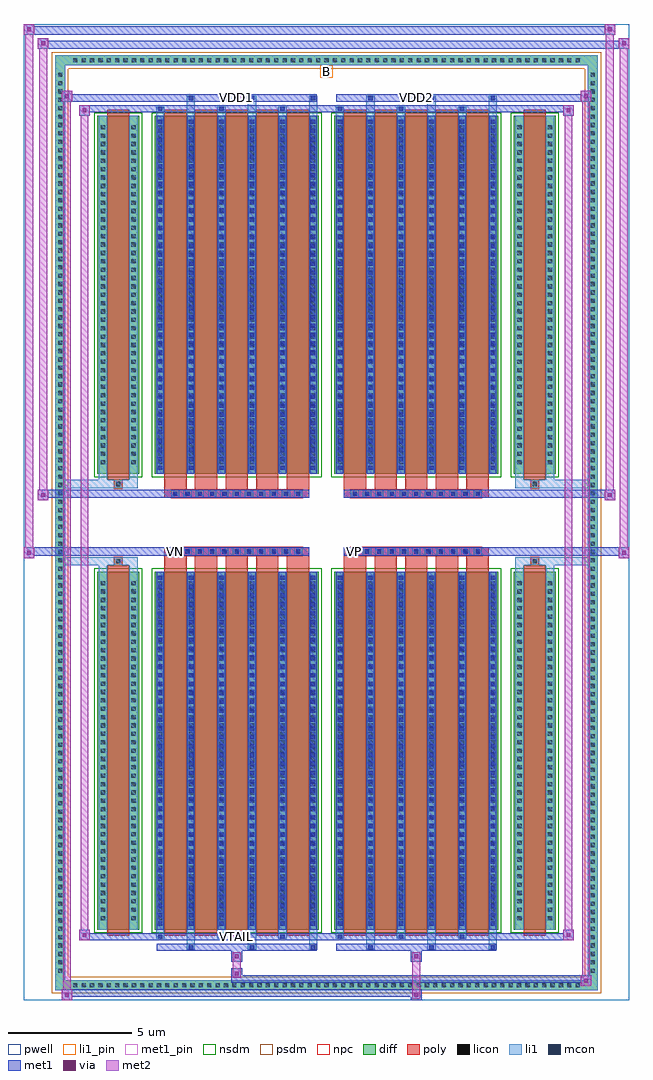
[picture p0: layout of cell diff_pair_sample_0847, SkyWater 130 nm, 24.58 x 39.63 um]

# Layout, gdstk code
import gdstk
lib = gdstk.Library(unit=1e-6, precision=5e-09)
def R(c, l, rs):  # rectangles x0, y0, x1, y1
    for r in rs: c.add(gdstk.rectangle(r[:2], r[2:], *l))
def A(c, l, x, y, w, h, nx, ny, dx, dy):  # array of equal rectangles
    R(c, l, [(x+i*dx, y+j*dy, x+i*dx+w, y+j*dy+h) for i in range(nx) for j in range(ny)])
def P(c, l, *ps):  # polygons
    for p in ps: c.add(gdstk.Polygon(p, *l))
pwell = (64, 44)
diff = (65, 20)
poly = (66, 20)
licon = (66, 44)
li1_pin = (67, 16)
li1 = (67, 20)
mcon = (67, 44)
met1_pin = (68, 16)
met1 = (68, 20)
via = (68, 44)
met2 = (69, 20)
nsdm = (93, 44)
psdm = (94, 20)
npc = (95, 20)

diff_pair_sample_0847 = lib.new_cell('diff_pair_sample_0847')
R(diff_pair_sample_0847, pwell, [(-12.29,-19.38,12.29,20.25), (-9.61,-17.57,-0.01,-0.805), (0.01,-17.57,9.61,-0.805), (-9.61,0.805,-0.01,17.57), (0.01,0.805,9.61,17.57)])
A(diff_pair_sample_0847, diff, -10.405, -18.98, 0.41, 0.41, 61, 2, 0.34, 37.55)
A(diff_pair_sample_0847, diff, -11.02, -18.395, 0.41, 0.41, 1, 108, 0, 0.34)
A(diff_pair_sample_0847, diff, 10.61, -18.395, 0.41, 0.41, 1, 108, 0, 0.34)
R(diff_pair_sample_0847, diff, [(-10.405,-18.98,10.405,-18.57), (-11.02,-18.395,-10.61,18.395), (10.61,-18.395,11.02,18.395), (-9.3,-16.525,-7.61,-1.985), (-6.97,-16.525,-0.32,-1.985), (0.32,-16.525,6.97,-1.985), (7.61,-16.525,9.3,-1.985), (-9.3,1.985,-7.61,16.525), (-6.97,1.985,-0.32,16.525), (0.32,1.985,6.97,16.525), (7.61,1.985,9.3,16.525), (-10.405,18.57,10.405,18.98)])
P(diff_pair_sample_0847, diff, [(11.02,18.98),(-11.02,18.98),(-11.02,-18.57),(-10.61,-18.57),(-10.61,18.57),(10.61,18.57),(10.61,-18.57),(-10.61,-18.57),(-11.02,-18.57),(-11.02,-18.98),(11.02,-18.98)])
A(diff_pair_sample_0847, poly, -6.58, -16.775, 0.91, 15.04, 5, 2, 1.24, 18.51)
A(diff_pair_sample_0847, poly, 0.71, -16.775, 0.91, 15.04, 5, 2, 1.24, 18.51)
A(diff_pair_sample_0847, poly, -6.58, -1.735, 0.91, 0.4, 5, 2, 1.24, 3.07)
A(diff_pair_sample_0847, poly, 0.71, -1.735, 0.91, 0.4, 5, 2, 1.24, 3.07)
A(diff_pair_sample_0847, poly, -6.31, -1.335, 0.33, 0.33, 11, 2, 0.5, 2.34)
A(diff_pair_sample_0847, poly, 0.98, -1.335, 0.33, 0.33, 11, 2, 0.5, 2.34)
R(diff_pair_sample_0847, poly, [(-8.91,-16.775,-8,-1.735), (8,-16.775,8.91,-1.735), (-8.62,-1.735,-8.29,-1.405), (-8.62,-1.735,-8.29,-1.405), (8.29,-1.735,8.62,-1.405), (8.29,-1.735,8.62,-1.405), (-6.58,-1.335,-0.71,-1.005), (0.71,-1.335,6.58,-1.005), (-6.58,1.005,-0.71,1.335), (0.71,1.005,6.58,1.335), (-8.62,1.405,-8.29,1.735), (-8.62,1.405,-8.29,1.735), (8.29,1.405,8.62,1.735), (8.29,1.405,8.62,1.735), (-8.91,1.735,-8,16.775), (8,1.735,8.91,16.775)])
A(diff_pair_sample_0847, licon, -10.285, -18.86, 0.17, 0.17, 61, 2, 0.34, 37.55)
A(diff_pair_sample_0847, licon, -10.9, -18.275, 0.17, 0.17, 1, 108, 0, 0.34)
A(diff_pair_sample_0847, licon, 10.73, -18.275, 0.17, 0.17, 1, 108, 0, 0.34)
A(diff_pair_sample_0847, licon, -9.16, -16.14, 0.17, 0.17, 1, 41, 0, 0.34)
A(diff_pair_sample_0847, licon, -7.92, -16.14, 0.17, 0.17, 1, 41, 0, 0.34)
A(diff_pair_sample_0847, licon, -6.83, -16.14, 0.17, 0.17, 6, 41, 1.24, 0.34)
A(diff_pair_sample_0847, licon, 0.46, -16.14, 0.17, 0.17, 6, 41, 1.24, 0.34)
A(diff_pair_sample_0847, licon, 7.75, -16.14, 0.17, 0.17, 1, 41, 0, 0.34)
A(diff_pair_sample_0847, licon, 8.99, -16.14, 0.17, 0.17, 1, 41, 0, 0.34)
A(diff_pair_sample_0847, licon, -6.23, -1.255, 0.17, 0.17, 11, 2, 0.5, 2.34)
A(diff_pair_sample_0847, licon, 1.06, -1.255, 0.17, 0.17, 11, 2, 0.5, 2.34)
A(diff_pair_sample_0847, licon, -9.16, 2.37, 0.17, 0.17, 1, 41, 0, 0.34)
A(diff_pair_sample_0847, licon, -7.92, 2.37, 0.17, 0.17, 1, 41, 0, 0.34)
A(diff_pair_sample_0847, licon, -6.83, 2.37, 0.17, 0.17, 6, 41, 1.24, 0.34)
A(diff_pair_sample_0847, licon, 0.46, 2.37, 0.17, 0.17, 6, 41, 1.24, 0.34)
A(diff_pair_sample_0847, licon, 7.75, 2.37, 0.17, 0.17, 1, 41, 0, 0.34)
A(diff_pair_sample_0847, licon, 8.99, 2.37, 0.17, 0.17, 1, 41, 0, 0.34)
R(diff_pair_sample_0847, licon, [(-8.54,-1.655,-8.37,-1.485), (8.37,-1.655,8.54,-1.485), (-8.54,1.485,-8.37,1.655), (8.37,1.485,8.54,1.655)])
R(diff_pair_sample_0847, li1_pin, [(-0.25,18.07,0.25,18.57)])
A(diff_pair_sample_0847, li1, -10.365, -18.94, 0.33, 0.33, 61, 2, 0.34, 37.55)
A(diff_pair_sample_0847, li1, -10.98, -18.355, 0.33, 0.33, 1, 108, 0, 0.34)
A(diff_pair_sample_0847, li1, 10.65, -18.355, 0.33, 0.33, 1, 108, 0, 0.34)
A(diff_pair_sample_0847, li1, -5.67, -17.33, 0.33, 0.805, 3, 2, 2.48, 33.855)
A(diff_pair_sample_0847, li1, -5.59, -17.33, 0.17, 0.17, 3, 2, 2.48, 34.49)
A(diff_pair_sample_0847, li1, 1.62, -17.33, 0.33, 0.805, 3, 2, 2.48, 33.855)
A(diff_pair_sample_0847, li1, 1.7, -17.33, 0.17, 0.17, 3, 2, 2.48, 34.49)
A(diff_pair_sample_0847, li1, -6.91, -16.9, 0.33, 0.375, 3, 2, 2.48, 33.425)
A(diff_pair_sample_0847, li1, -6.83, -16.9, 0.17, 0.17, 3, 2, 2.48, 33.63)
A(diff_pair_sample_0847, li1, 0.38, -16.9, 0.33, 0.375, 3, 2, 2.48, 33.425)
A(diff_pair_sample_0847, li1, 0.46, -16.9, 0.17, 0.17, 3, 2, 2.48, 33.63)
A(diff_pair_sample_0847, li1, -6.91, -16.525, 0.33, 14.54, 6, 2, 1.24, 18.51)
A(diff_pair_sample_0847, li1, 0.38, -16.525, 0.33, 14.54, 6, 2, 1.24, 18.51)
A(diff_pair_sample_0847, li1, -6.83, -16.36, 0.17, 0.17, 6, 40, 1.24, 0.36)
A(diff_pair_sample_0847, li1, -6.83, -16.36, 0.17, 14.21, 6, 2, 1.24, 18.51)
A(diff_pair_sample_0847, li1, 0.46, -16.36, 0.17, 0.17, 6, 40, 1.24, 0.36)
A(diff_pair_sample_0847, li1, 0.46, -16.36, 0.17, 14.21, 6, 2, 1.24, 18.51)
A(diff_pair_sample_0847, li1, -9.24, -16.22, 0.33, 0.33, 1, 41, 0, 0.34)
A(diff_pair_sample_0847, li1, -8, -16.22, 0.33, 0.33, 1, 41, 0, 0.34)
A(diff_pair_sample_0847, li1, -6.91, -16.22, 0.33, 0.33, 6, 41, 1.24, 0.34)
A(diff_pair_sample_0847, li1, 0.38, -16.22, 0.33, 0.33, 6, 41, 1.24, 0.34)
A(diff_pair_sample_0847, li1, 7.67, -16.22, 0.33, 0.33, 1, 41, 0, 0.34)
A(diff_pair_sample_0847, li1, 8.91, -16.22, 0.33, 0.33, 1, 41, 0, 0.34)
A(diff_pair_sample_0847, li1, -6.31, -1.335, 0.33, 0.33, 11, 2, 0.5, 2.34)
A(diff_pair_sample_0847, li1, 0.98, -1.335, 0.33, 0.33, 11, 2, 0.5, 2.34)
A(diff_pair_sample_0847, li1, -6.83, 2.15, 0.17, 0.17, 6, 40, 1.24, 0.36)
A(diff_pair_sample_0847, li1, 0.46, 2.15, 0.17, 0.17, 6, 40, 1.24, 0.36)
A(diff_pair_sample_0847, li1, -9.24, 2.29, 0.33, 0.33, 1, 41, 0, 0.34)
A(diff_pair_sample_0847, li1, -8, 2.29, 0.33, 0.33, 1, 41, 0, 0.34)
A(diff_pair_sample_0847, li1, -6.91, 2.29, 0.33, 0.33, 6, 41, 1.24, 0.34)
A(diff_pair_sample_0847, li1, 0.38, 2.29, 0.33, 0.33, 6, 41, 1.24, 0.34)
A(diff_pair_sample_0847, li1, 7.67, 2.29, 0.33, 0.33, 1, 41, 0, 0.34)
A(diff_pair_sample_0847, li1, 8.91, 2.29, 0.33, 0.33, 1, 41, 0, 0.34)
R(diff_pair_sample_0847, li1, [(-11.02,-18.98,-10.61,-18.57), (-11.02,-18.98,-10.61,-18.57), (-10.61,-18.98,10.61,-18.57), (10.61,-18.98,11.02,-18.57), (10.61,-18.98,11.02,-18.57), (-11.02,-18.57,-10.61,18.57), (10.61,-18.57,11.02,18.57), (-9.24,-16.525,-8.91,-1.985), (-8,-16.525,-7.67,-1.985), (7.67,-16.525,8,-1.985), (8.91,-16.525,9.24,-1.985), (-9.24,-1.985,-8.91,-1.405), (-8,-1.985,-7.67,-1.405), (7.67,-1.985,8,-1.405), (8.91,-1.985,9.24,-1.405), (-11.02,-1.735,-8.62,-1.405), (-9.24,-1.735,-8.62,-1.405), (-8.62,-1.735,-8.29,-1.405), (-8.29,-1.735,-7.67,-1.405), (7.67,-1.735,8.29,-1.405), (8.29,-1.735,8.62,-1.405), (8.29,-1.735,11.02,-1.405), (8.62,-1.735,9.24,-1.405), (-11.02,1.405,-8.62,1.735), (-9.24,1.405,-8.62,1.735), (-9.24,1.405,-8.91,1.985), (-8.62,1.405,-8.29,1.735), (-8.29,1.405,-7.67,1.735), (-8,1.405,-7.67,1.985), (7.67,1.405,8.29,1.735), (7.67,1.405,8,1.985), (8.29,1.405,8.62,1.735), (8.29,1.405,11.02,1.735), (8.62,1.405,9.24,1.735), (8.91,1.405,9.24,1.985), (-9.24,1.985,-8.91,16.525), (-8,1.985,-7.67,16.525), (7.67,1.985,8,16.525), (8.91,1.985,9.24,16.525), (-11.02,18.57,-10.61,18.98), (-11.02,18.57,-10.61,18.98), (-10.61,18.57,10.61,18.98), (10.61,18.57,11.02,18.98), (10.61,18.57,11.02,18.98)])
A(diff_pair_sample_0847, mcon, -5.59, -17.33, 0.17, 0.17, 3, 2, 2.48, 34.49)
A(diff_pair_sample_0847, mcon, 1.7, -17.33, 0.17, 0.17, 3, 2, 2.48, 34.49)
A(diff_pair_sample_0847, mcon, -6.83, -16.9, 0.17, 0.17, 3, 2, 2.48, 33.63)
A(diff_pair_sample_0847, mcon, 0.46, -16.9, 0.17, 0.17, 3, 2, 2.48, 33.63)
A(diff_pair_sample_0847, mcon, -6.83, -16.36, 0.17, 0.17, 6, 40, 1.24, 0.36)
A(diff_pair_sample_0847, mcon, 0.46, -16.36, 0.17, 0.17, 6, 40, 1.24, 0.36)
A(diff_pair_sample_0847, mcon, -6.23, -1.255, 0.17, 0.17, 11, 2, 0.5, 2.34)
A(diff_pair_sample_0847, mcon, 1.06, -1.255, 0.17, 0.17, 11, 2, 0.5, 2.34)
A(diff_pair_sample_0847, mcon, -6.83, 2.15, 0.17, 0.17, 6, 40, 1.24, 0.36)
A(diff_pair_sample_0847, mcon, 0.46, 2.15, 0.17, 0.17, 6, 40, 1.24, 0.36)
R(diff_pair_sample_0847, met1_pin, [(-3.78,-16.94,-3.51,-16.67), (-6.28,-1.295,-6.01,-1.025), (1.01,-1.295,1.28,-1.025), (-3.78,17.12,-3.51,17.39), (3.51,17.12,3.78,17.39)])
A(diff_pair_sample_0847, met1, -5.65, -17.39, 0.29, 0.29, 3, 2, 2.48, 34.49)
A(diff_pair_sample_0847, met1, 1.64, -17.39, 0.29, 0.29, 3, 2, 2.48, 34.49)
A(diff_pair_sample_0847, met1, -6.89, -16.96, 0.29, 0.29, 3, 2, 2.48, 33.63)
A(diff_pair_sample_0847, met1, 0.4, -16.96, 0.29, 0.29, 3, 2, 2.48, 33.63)
A(diff_pair_sample_0847, met1, -6.89, -16.525, 0.29, 14.54, 6, 2, 1.24, 18.51)
A(diff_pair_sample_0847, met1, 0.4, -16.525, 0.29, 14.54, 6, 2, 1.24, 18.51)
A(diff_pair_sample_0847, met1, -6.89, -16.42, 0.29, 0.29, 6, 40, 1.24, 0.36)
A(diff_pair_sample_0847, met1, 0.4, -16.42, 0.29, 0.29, 6, 40, 1.24, 0.36)
A(diff_pair_sample_0847, met1, -6.29, -1.315, 0.29, 0.29, 11, 2, 0.5, 2.34)
A(diff_pair_sample_0847, met1, 1, -1.315, 0.29, 0.29, 11, 2, 0.5, 2.34)
A(diff_pair_sample_0847, met1, -6.89, 2.09, 0.29, 0.29, 6, 40, 1.24, 0.36)
A(diff_pair_sample_0847, met1, 0.4, 2.09, 0.29, 0.29, 6, 40, 1.24, 0.36)
R(diff_pair_sample_0847, met1, [(-10.75,-19.38,-10.32,-18.95), (3.43,-19.38,3.86,-18.95), (-10.75,-19.24,3.86,-18.95), (10.32,-18.81,10.75,-18.38), (-3.86,-18.67,10.75,-18.38), (-3.86,-18.53,-3.43,-18.1), (-3.86,-17.82,-3.43,-17.39), (3.43,-17.82,3.86,-17.39), (-6.89,-17.39,-0.4,-17.1), (0.4,-17.39,6.89,-17.1), (-10.04,-16.96,-9.61,-16.53), (-10.04,-16.96,-6.89,-16.67), (-6.89,-16.96,-0.4,-16.67), (-0.4,-16.96,0.4,-16.67), (0.4,-16.96,6.89,-16.67), (6.89,-16.96,10.04,-16.67), (9.61,-16.96,10.04,-16.53), (-12.29,-1.435,-11.86,-1.005), (11.86,-1.435,12.29,-1.005), (-12.29,-1.335,-0.71,-1.005), (-6.58,-1.335,-0.71,-1.005), (0.71,-1.335,6.58,-1.005), (0.71,-1.335,12.29,-1.005), (-11.72,0.905,-11.29,1.335), (11.29,0.905,11.72,1.335), (-11.72,1.005,-6.58,1.335), (-6.58,1.005,-0.71,1.335), (0.71,1.005,6.58,1.335), (6.58,1.005,11.72,1.335), (-10.04,16.53,-9.61,16.96), (9.61,16.53,10.04,16.96), (-10.04,16.67,-6.89,16.96), (-6.89,16.67,-0.4,16.96), (-0.4,16.67,0.4,16.96), (0.4,16.67,6.89,16.96), (6.89,16.67,10.04,16.96), (-10.75,17.1,-10.32,17.53), (-10.75,17.1,-6.89,17.39), (-6.89,17.1,-0.4,17.39), (0.4,17.1,6.89,17.39), (6.89,17.1,10.75,17.39), (10.32,17.1,10.75,17.53), (-11.72,19.25,-11.29,19.68), (-11.72,19.25,-9.61,19.58), (-9.61,19.25,9.61,19.58), (9.61,19.25,12.29,19.58), (11.86,19.25,12.29,19.68), (-12.29,19.82,-11.86,20.25), (-12.29,19.82,-9.61,20.15), (-9.61,19.82,9.61,20.15), (9.61,19.82,11.72,20.15), (11.29,19.82,11.72,20.25)])
R(diff_pair_sample_0847, via, [(-10.61,-19.24,-10.46,-19.09), (3.57,-19.24,3.72,-19.09), (10.46,-18.67,10.61,-18.52), (-3.72,-18.39,-3.57,-18.24), (-3.72,-17.68,-3.57,-17.53), (3.57,-17.68,3.72,-17.53), (-9.9,-16.82,-9.75,-16.67), (9.75,-16.82,9.9,-16.67), (-12.15,-1.295,-12,-1.145), (12,-1.295,12.15,-1.145), (-11.58,1.045,-11.43,1.195), (11.43,1.045,11.58,1.195), (-9.9,16.67,-9.75,16.82), (9.75,16.67,9.9,16.82), (-10.61,17.24,-10.46,17.39), (10.46,17.24,10.61,17.39), (-11.58,19.39,-11.43,19.54), (12,19.39,12.15,19.54), (-12.15,19.96,-12,20.11), (11.43,19.96,11.58,20.11)])
R(diff_pair_sample_0847, met2, [(-10.75,-19.38,-10.32,-18.95), (-10.68,-19.38,-10.39,17.53), (-10.39,-19.38,-10.32,-18.95), (-10.7,-19.33,-10.37,-19), (3.48,-19.33,3.81,-19), (3.48,-19,3.81,-17.77), (10.32,-18.81,10.75,-18.38), (10.39,-18.81,10.68,17.53), (10.68,-18.81,10.75,-18.38), (10.37,-18.76,10.7,-18.43), (-3.81,-18.48,-3.48,-18.15), (-3.81,-18.15,-3.48,-17.77), (-3.81,-17.77,-3.48,-17.44), (3.48,-17.77,3.81,-17.44), (-10.04,-16.96,-9.61,-16.53), (-9.97,-16.96,-9.68,16.96), (-9.68,-16.96,-9.61,-16.53), (9.61,-16.96,10.04,-16.53), (9.68,-16.96,9.97,16.96), (9.97,-16.96,10.04,-16.53), (-9.99,-16.91,-9.66,-16.58), (9.66,-16.91,9.99,-16.58), (-12.29,-1.435,-11.86,-1.005), (-12.24,-1.435,-11.91,20.25), (-11.91,-1.435,-11.86,-1.005), (11.86,-1.435,12.29,-1.005), (11.91,-1.435,12.24,19.68), (12.24,-1.435,12.29,-1.005), (-12.24,-1.385,-11.91,-1.055), (11.91,-1.385,12.24,-1.055), (-11.72,0.905,-11.29,1.335), (-11.67,0.905,-11.34,19.68), (-11.34,0.905,-11.29,1.335), (11.29,0.905,11.72,1.335), (11.34,0.905,11.67,20.25), (11.67,0.905,11.72,1.335), (-11.67,0.955,-11.34,1.285), (11.34,0.955,11.67,1.285), (-10.04,16.53,-9.61,16.96), (-9.68,16.53,-9.61,16.96), (9.61,16.53,10.04,16.96), (9.97,16.53,10.04,16.96), (-9.99,16.58,-9.66,16.91), (9.66,16.58,9.99,16.91), (-10.75,17.1,-10.32,17.53), (-10.39,17.1,-10.32,17.53), (10.32,17.1,10.75,17.53), (10.68,17.1,10.75,17.53), (-10.7,17.15,-10.37,17.48), (10.37,17.15,10.7,17.48), (-11.72,19.25,-11.29,19.68), (-11.34,19.25,-11.29,19.68), (11.86,19.25,12.29,19.68), (12.24,19.25,12.29,19.68), (-11.67,19.3,-11.34,19.63), (11.91,19.3,12.24,19.63), (-12.29,19.82,-11.86,20.25), (-11.91,19.82,-11.86,20.25), (11.29,19.82,11.72,20.25), (11.67,19.82,11.72,20.25), (-12.24,19.87,-11.91,20.2), (11.34,19.87,11.67,20.2)])
R(diff_pair_sample_0847, nsdm, [(-9.43,-16.655,-7.48,-1.855), (-7.1,-16.655,-0.19,-1.855), (0.19,-16.655,7.1,-1.855), (7.48,-16.655,9.43,-1.855), (-9.43,1.855,-7.48,16.655), (-7.1,1.855,-0.19,16.655), (0.19,1.855,7.1,16.655), (7.48,1.855,9.43,16.655)])
P(diff_pair_sample_0847, psdm, [(11.15,19.11),(-11.15,19.11),(-11.15,-18.44),(-10.48,-18.44),(-10.48,18.44),(10.48,18.44),(10.48,-18.44),(-10.48,-18.44),(-11.15,-18.44),(-11.15,-19.11),(11.15,-19.11)])
A(diff_pair_sample_0847, npc, -6.33, -1.355, 0.37, 0.37, 11, 2, 0.5, 2.34)
A(diff_pair_sample_0847, npc, 0.96, -1.355, 0.37, 0.37, 11, 2, 0.5, 2.34)
R(diff_pair_sample_0847, npc, [(-8.64,-1.755,-8.27,-1.385), (8.27,-1.755,8.64,-1.385), (-6.33,-1.355,-5.46,-0.985), (-6.33,-1.355,-5.46,-0.985), (-5.83,-1.355,-4.96,-0.985), (-5.83,-1.355,-4.96,-0.985), (-5.33,-1.355,-4.46,-0.985), (-5.33,-1.355,-4.46,-0.985), (-4.83,-1.355,-3.96,-0.985), (-4.83,-1.355,-3.96,-0.985), (-4.33,-1.355,-3.46,-0.985), (-4.33,-1.355,-3.46,-0.985), (-3.83,-1.355,-2.96,-0.985), (-3.83,-1.355,-2.96,-0.985), (-3.33,-1.355,-2.46,-0.985), (-3.33,-1.355,-2.46,-0.985), (-2.83,-1.355,-1.96,-0.985), (-2.83,-1.355,-1.96,-0.985), (-2.33,-1.355,-1.46,-0.985), (-2.33,-1.355,-1.46,-0.985), (-1.83,-1.355,-0.96,-0.985), (-1.83,-1.355,-0.96,-0.985), (0.96,-1.355,1.83,-0.985), (0.96,-1.355,1.83,-0.985), (1.46,-1.355,2.33,-0.985), (1.46,-1.355,2.33,-0.985), (1.96,-1.355,2.83,-0.985), (1.96,-1.355,2.83,-0.985), (2.46,-1.355,3.33,-0.985), (2.46,-1.355,3.33,-0.985), (2.96,-1.355,3.83,-0.985), (2.96,-1.355,3.83,-0.985), (3.46,-1.355,4.33,-0.985), (3.46,-1.355,4.33,-0.985), (3.96,-1.355,4.83,-0.985), (3.96,-1.355,4.83,-0.985), (4.46,-1.355,5.33,-0.985), (4.46,-1.355,5.33,-0.985), (4.96,-1.355,5.83,-0.985), (4.96,-1.355,5.83,-0.985), (5.46,-1.355,6.33,-0.985), (5.46,-1.355,6.33,-0.985), (-6.33,0.985,-5.46,1.355), (-6.33,0.985,-5.46,1.355), (-5.83,0.985,-4.96,1.355), (-5.83,0.985,-4.96,1.355), (-5.33,0.985,-4.46,1.355), (-5.33,0.985,-4.46,1.355), (-4.83,0.985,-3.96,1.355), (-4.83,0.985,-3.96,1.355), (-4.33,0.985,-3.46,1.355), (-4.33,0.985,-3.46,1.355), (-3.83,0.985,-2.96,1.355), (-3.83,0.985,-2.96,1.355), (-3.33,0.985,-2.46,1.355), (-3.33,0.985,-2.46,1.355), (-2.83,0.985,-1.96,1.355), (-2.83,0.985,-1.96,1.355), (-2.33,0.985,-1.46,1.355), (-2.33,0.985,-1.46,1.355), (-1.83,0.985,-0.96,1.355), (-1.83,0.985,-0.96,1.355), (0.96,0.985,1.83,1.355), (0.96,0.985,1.83,1.355), (1.46,0.985,2.33,1.355), (1.46,0.985,2.33,1.355), (1.96,0.985,2.83,1.355), (1.96,0.985,2.83,1.355), (2.46,0.985,3.33,1.355), (2.46,0.985,3.33,1.355), (2.96,0.985,3.83,1.355), (2.96,0.985,3.83,1.355), (3.46,0.985,4.33,1.355), (3.46,0.985,4.33,1.355), (3.96,0.985,4.83,1.355), (3.96,0.985,4.83,1.355), (4.46,0.985,5.33,1.355), (4.46,0.985,5.33,1.355), (4.96,0.985,5.83,1.355), (4.96,0.985,5.83,1.355), (5.46,0.985,6.33,1.355), (5.46,0.985,6.33,1.355), (-8.64,1.385,-8.27,1.755), (8.27,1.385,8.64,1.755)])
diff_pair_sample_0847.add(gdstk.Label('VTAIL', (-3.645,-16.805), layer=68, texttype=5))
diff_pair_sample_0847.add(gdstk.Label('VN', (-6.145,-1.16), layer=68, texttype=5))
diff_pair_sample_0847.add(gdstk.Label('VP', (1.145,-1.16), layer=68, texttype=5))
diff_pair_sample_0847.add(gdstk.Label('B', (0,18.32), layer=67, texttype=5))
diff_pair_sample_0847.add(gdstk.Label('VDD2', (3.645,17.255), layer=68, texttype=5))
diff_pair_sample_0847.add(gdstk.Label('VDD1', (-3.645,17.255), layer=68, texttype=5))

lib.write_gds('diff_pair_sample_0847.gds')
